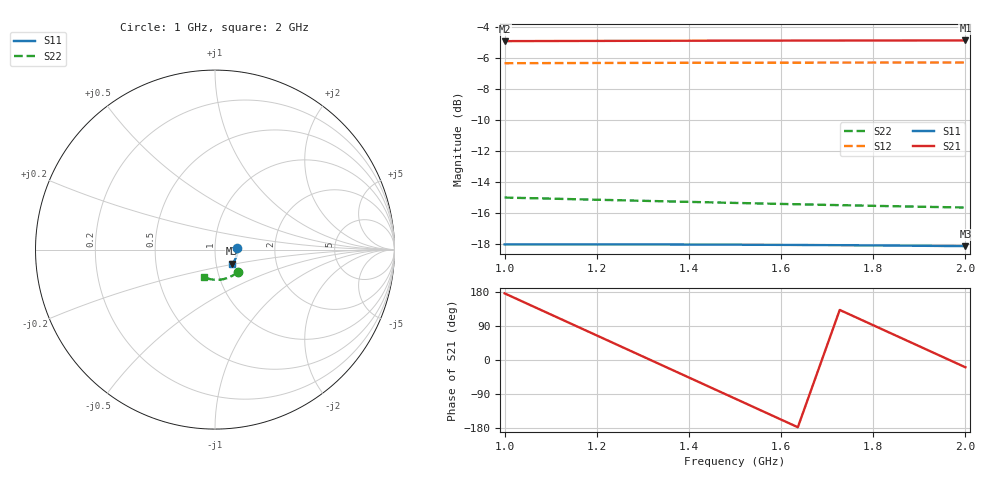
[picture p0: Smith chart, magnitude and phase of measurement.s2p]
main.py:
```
from __future__ import annotations

from fastapi import FastAPI, File, Form, UploadFile
from fastapi.responses import JSONResponse, Response

from .errors import RFDeembedError
from .pipeline import build_result_zip, run_deembedding


app = FastAPI(
    title="rfdeembed188",
    version="0.1.0",
    description="Two-port Touchstone fixture de-embedding backend.",
)


@app.get("/health")
def health() -> dict[str, str]:
    return {"status": "ok", "project": "rfdeembed188"}


@app.post("/deembed")
async def deembed_s2p(
    measurement: UploadFile = File(...),
    left_fixture: UploadFile = File(...),
    right_fixture: UploadFile = File(...),
    left_swapped: bool = Form(False),
    right_swapped: bool = Form(False),
) -> Response:
    try:
        measurement_raw = await measurement.read()
        left_raw = await left_fixture.read()
        right_raw = await right_fixture.read()
        result, diagnostics = run_deembedding(
            measurement_raw=measurement_raw,
            left_raw=left_raw,
            right_raw=right_raw,
            measurement_name=measurement.filename or "measurement.s2p",
            left_name=left_fixture.filename or "left_fixture.s2p",
            right_name=right_fixture.filename or "right_fixture.s2p",
            left_swapped=left_swapped,
            right_swapped=right_swapped,
        )
        payload = build_result_zip(result, diagnostics)
        return Response(
            content=payload,
            media_type="application/zip",
            headers={"Content-Disposition": 'attachment; filename="rfdeembed188-device.zip"'},
        )
    except RFDeembedError as exc:
        return JSONResponse(status_code=exc.status_code, content={"detail": exc.to_detail()})
```
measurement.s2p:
! rfdeembed188 example: measurement
# Hz S RI R 50
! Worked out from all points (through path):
!   12 points, 1 GHz to 2 GHz, reference 50 ohm
!   highest |S21| = -4.89 dB at 2 GHz (marker M1); lowest = -4.9 dB at 1 GHz (marker M2)
!   lowest |S11| = -18.2 dB at 2 GHz (marker M3), VSWR 1.28, Z = 59.9 - j9.43 ohm
!   |S11| at or under -10 dB: start of sweep to end of sweep
!   |S22| runs from -15.7 to -15.0 dB; largest |S21 - S12| = 1
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1e9  0.1252 0.00634  -0.565 0.0412  -0.3811 0.2934  0.1268 -0.1241
1.090909e9  0.1253 -0.00195  -0.3281 0.4624  -0.4813 0.00464  0.1122 -0.1358
1.181818e9  0.1249 -0.0102  0.1479 0.5477  -0.3872 -0.2864  0.0965 -0.1458
1.272727e9  0.124 -0.0185  0.5169 0.2348  -0.1366 -0.4622  0.0798 -0.1541
1.363636e9  0.1224 -0.0266  0.5104 -0.2493  0.1695 -0.4515  0.0624 -0.1606
1.454545e9  0.1203 -0.0346  0.1327 -0.5527  0.4075 -0.2584  0.0445 -0.1652
1.545455e9  0.1176 -0.0425  -0.3418 -0.4544  0.4811 0.0393  0.0262 -0.1679
1.636364e9  0.1143 -0.0501  -0.5683 -0.0257  0.3605 0.3214  0.00783 -0.1686
1.818182e9  0.1063 -0.0645  0.0824 0.5632  -0.2104 0.4349  -0.0286 -0.1642
1.909091e9  0.1016 -0.0712  0.4868 0.2951  -0.4301 0.2204  -0.0462 -0.1591
2e9  0.0964 -0.0775  0.5376 -0.1875  -0.4761 -0.0833  -0.0631 -0.1522
